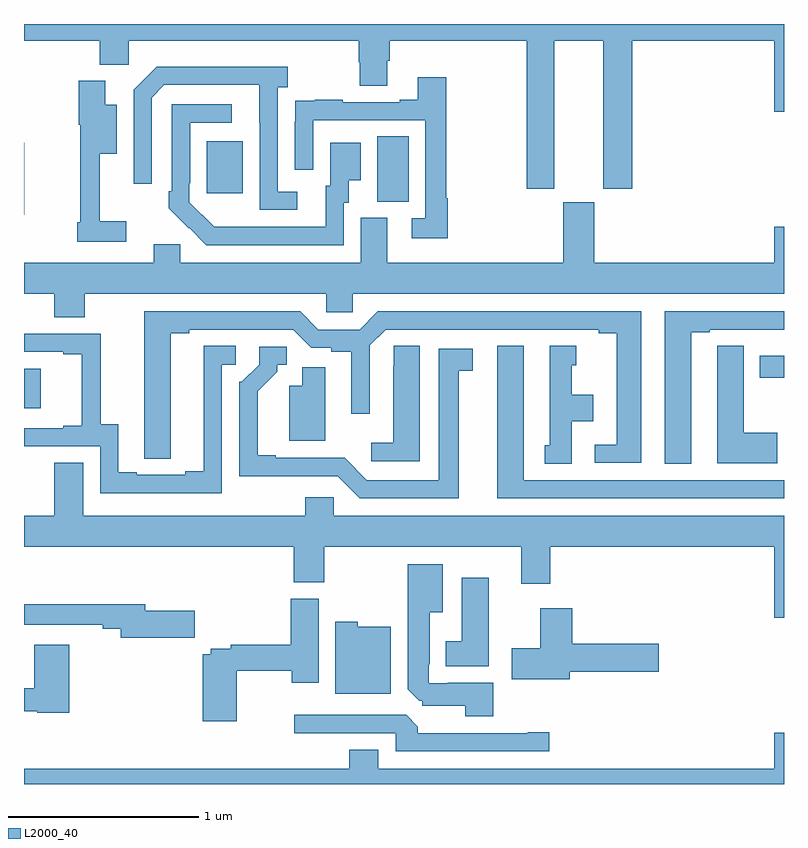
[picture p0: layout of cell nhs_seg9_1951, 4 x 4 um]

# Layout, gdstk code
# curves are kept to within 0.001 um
import gdstk
lib = gdstk.Library(unit=1e-6, precision=1e-09)
def R(c, l, rs):  # rectangles x0, y0, x1, y1
    for r in rs: c.add(gdstk.rectangle(r[:2], r[2:], *l))
def P(c, l, *ps):  # polygons
    for p in ps: c.add(gdstk.Polygon(p, *l))
L2000_40 = (2000, 40)

nhs_seg9_1951 = lib.new_cell('nhs_seg9_1951')
R(nhs_seg9_1951, L2000_40, [(221,1202.477,221.089,1202.686), (224.873,1202.638,225,1202.754), (221,1203.495,221.002,1203.876), (222.86,1203.565,223.024,1203.908), (221.963,1203.609,222.151,1203.883)])
P(nhs_seg9_1951, L2000_40, [(223.792,1204.412),(224.048,1204.412),(224.048,1203.633),(224.201,1203.633),(224.201,1204.412),(224.948,1204.412),(224.948,1204.038),(225,1204.038),(225,1204.5),(221,1204.5),(221,1204.412),(221.399,1204.412),(221.399,1204.286),(221.55,1204.286),(221.55,1204.412),(222.761,1204.412),(222.761,1204.299),(222.766,1204.299),(222.766,1204.174),(222.913,1204.174),(222.913,1204.306),(222.926,1204.306),(222.926,1204.412),(223.645,1204.412),(223.645,1203.633),(223.792,1203.633)],
  [(222.439,1203.618),(222.336,1203.618),(222.336,1204.166),(222.388,1204.166),(222.388,1204.276),(221.698,1204.276),(221.577,1204.155),(221.577,1203.66),(221.673,1203.66),(221.673,1204.113),(221.739,1204.179),(222.239,1204.179),(222.24,1203.522),(222.439,1203.522)],
  [(223.229,1203.584),(223.222,1203.584),(223.222,1204.219),(223.073,1204.219),(223.073,1204.102),(222.977,1204.102),(222.977,1204.089),(222.677,1204.089),(222.677,1204.102),(222.529,1204.102),(222.529,1204.095),(222.427,1204.095),(222.427,1203.986),(222.426,1203.986),(222.426,1203.732),(222.522,1203.732),(222.522,1203.993),(223.113,1203.993),(223.113,1203.477),(223.041,1203.477),(223.041,1203.372),(223.229,1203.372)],
  [(221.539,1203.463),(221.399,1203.463),(221.399,1203.818),(221.488,1203.818),(221.488,1204.075),(221.428,1204.075),(221.428,1204.201),(221.288,1204.201),(221.288,1203.971),(221.296,1203.971),(221.296,1203.457),(221.281,1203.457),(221.281,1203.354),(221.539,1203.354)],
  [(222.684,1203.558),(222.709,1203.558),(222.709,1203.677),(222.772,1203.677),(222.772,1203.874),(222.611,1203.874),(222.611,1203.648),(222.587,1203.648),(222.587,1203.432),(222,1203.433),(221.871,1203.561),(221.871,1203.661),(221.874,1203.661),(221.874,1203.981),(222.094,1203.981),(222.094,1204.077),(221.778,1204.077),(221.778,1203.619),(221.763,1203.619),(221.763,1203.531),(221.96,1203.336),(222.684,1203.336)],
  [(225,1203.433),(224.948,1203.433),(224.948,1203.244),(224.002,1203.244),(224.002,1203.561),(223.838,1203.561),(223.838,1203.244),(222.913,1203.244),(222.913,1203.48),(222.773,1203.48),(222.773,1203.244),(221.823,1203.244),(221.823,1203.342),(221.684,1203.342),(221.684,1203.244),(221,1203.244),(221,1203.08),(221.159,1203.08),(221.159,1202.956),(221.319,1202.956),(221.319,1203.08),(222.591,1203.08),(222.591,1202.982),(222.729,1202.982),(222.729,1203.08),(225,1203.08)],
  [(224.248,1202.988),(222.863,1202.988),(222.767,1202.892),(222.549,1202.892),(222.453,1202.988),(221.633,1202.988),(221.634,1202.212),(221.773,1202.212),(221.773,1202.872),(221.869,1202.872),(221.869,1202.892),(222.417,1202.892),(222.513,1202.796),(222.618,1202.796),(222.618,1202.776),(222.722,1202.776),(222.722,1202.448),(222.819,1202.448),(222.819,1202.808),(222.903,1202.892),(224.024,1202.892),(224.024,1202.872),(224.12,1202.872),(224.12,1202.286),(224.004,1202.286),(224.004,1202.19),(224.248,1202.19)],
  [(224.512,1202.877),(224.608,1202.877),(224.608,1202.892),(224.884,1202.892),(224.884,1202.891),(225,1202.891),(225,1202.988),(224.372,1202.988),(224.372,1202.185),(224.512,1202.185)],
  [(222.042,1202.706),(222.115,1202.706),(222.115,1202.807),(221.945,1202.807),(221.945,1202.147),(221.849,1202.147),(221.849,1202.127),(221.593,1202.127),(221.593,1202.142),(221.497,1202.142),(221.497,1202.393),(221.403,1202.393),(221.403,1202.871),(221,1202.871),(221,1202.775),(221.207,1202.775),(221.207,1202.763),(221.303,1202.763),(221.303,1202.386),(221.207,1202.386),(221.207,1202.373),(221,1202.373),(221,1202.277),(221.4,1202.277),(221.4,1202.031),(222.042,1202.031)],
  [(224.965,1202.349),(224.788,1202.349),(224.788,1202.807),(224.649,1202.807),(224.649,1202.699),(224.648,1202.699),(224.648,1202.189),(224.965,1202.189)],
  [(223.084,1202.807),(222.945,1202.807),(222.945,1202.699),(222.944,1202.699),(222.944,1202.296),(222.828,1202.296),(222.828,1202.199),(223.084,1202.199)],
  [(223.882,1202.408),(223.996,1202.408),(223.996,1202.548),(223.882,1202.548),(223.882,1202.703),(223.906,1202.703),(223.906,1202.806),(223.766,1202.806),(223.766,1202.283),(223.742,1202.283),(223.742,1202.185),(223.882,1202.185)],
  [(225,1202.1),(223.63,1202.1),(223.63,1202.806),(223.49,1202.806),(223.49,1202.004),(225,1202.004)],
  [(223.288,1202.674),(223.363,1202.674),(223.363,1202.79),(223.184,1202.79),(223.184,1202.1),(222.804,1202.1),(222.687,1202.217),(222.325,1202.217),(222.325,1202.23),(222.229,1202.23),(222.229,1202.566),(222.334,1202.671),(222.334,1202.706),(222.384,1202.706),(222.384,1202.802),(222.237,1202.802),(222.237,1202.706),(222.147,1202.616),(222.132,1202.616),(222.132,1202.12),(222.651,1202.121),(222.768,1202.004),(223.288,1202.004)],
  [(222.586,1202.694),(222.464,1202.694),(222.464,1202.596),(222.395,1202.596),(222.395,1202.306),(222.586,1202.306)],
  [(225,1201.912),(222.63,1201.912),(222.63,1202.01),(222.479,1202.01),(222.479,1201.912),(221.311,1201.912),(221.311,1202.192),(221.159,1202.192),(221.159,1201.912),(221,1201.912),(221,1201.748),(222.419,1201.748),(222.419,1201.561),(222.579,1201.561),(222.579,1201.748),(223.616,1201.748),(223.616,1201.554),(223.769,1201.554),(223.769,1201.748),(224.948,1201.748),(224.948,1201.374),(225,1201.374)],
  [(223.471,1201.033),(223.231,1201.033),(223.231,1201.029),(223.131,1201.029),(223.131,1201.129),(223.135,1201.129),(223.135,1201.403),(223.204,1201.403),(223.204,1201.657),(223.019,1201.657),(223.019,1200.999),(223.079,1200.939),(223.095,1200.939),(223.095,1200.912),(223.322,1200.912),(223.322,1200.857),(223.471,1200.857)],
  [(223.447,1201.585),(223.304,1201.585),(223.304,1201.252),(223.22,1201.252),(223.22,1201.121),(223.447,1201.121)],
  [(222.12,1201.096),(222.409,1201.096),(222.409,1201.032),(222.55,1201.032),(222.55,1201.476),(222.404,1201.476),(222.404,1201.232),(222.088,1201.232),(222.088,1201.212),(221.984,1201.212),(221.984,1201.183),(221.942,1201.183),(221.942,1200.831),(222.12,1200.831)],
  [(221.899,1201.413),(221.638,1201.413),(221.638,1201.447),(221,1201.447),(221,1201.338),(221.414,1201.338),(221.414,1201.318),(221.51,1201.318),(221.51,1201.271),(221.899,1201.271)],
  [(223.873,1201.091),(224.341,1201.091),(224.341,1201.238),(223.886,1201.238),(223.886,1201.426),(223.718,1201.426),(223.718,1201.215),(223.566,1201.215),(223.566,1201.052),(223.873,1201.052)],
  [(222.931,1201.327),(222.756,1201.327),(222.756,1201.354),(222.638,1201.354),(222.638,1200.974),(222.931,1200.974)],
  [(221.237,1201.234),(221.054,1201.234),(221.054,1201.003),(221,1201.003),(221,1200.882),(221.07,1200.882),(221.07,1200.874),(221.237,1200.874)],
  [(223.765,1200.773),(223.652,1200.773),(223.652,1200.768),(223.073,1200.768),(223.073,1200.802),(223.011,1200.864),(222.423,1200.864),(222.423,1200.768),(222.957,1200.768),(222.957,1200.672),(223.765,1200.672)],
  [(225,1200.769),(224.948,1200.769),(224.948,1200.58),(222.865,1200.58),(222.865,1200.679),(222.713,1200.679),(222.713,1200.58),(221,1200.58),(221,1200.5),(225,1200.5)])

lib.write_gds('nhs_seg9_1951.gds')
